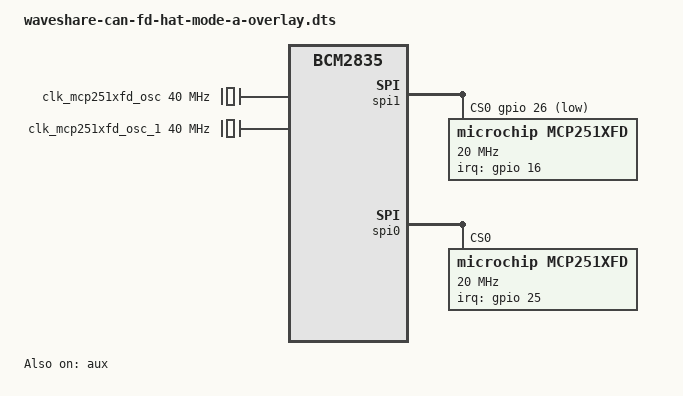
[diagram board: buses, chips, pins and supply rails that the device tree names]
// redo: ovmerge -c spi1-1cs-overlay.dts,cs0_pin=26,cs0_spidev=false mcp251xfd-overlay.dts,spi0-0,interrupt=25 mcp251xfd-overlay.dts,spi1-0,interrupt=16

// Device tree overlay for https://www.waveshare.com/2-ch-can-fd-hat.htm
// in "Mode A" (default) configuration
// for details see https://www.waveshare.com/wiki/2-CH_CAN_FD_HAT

/dts-v1/;
/plugin/;

#include <dt-bindings/gpio/gpio.h>
#include <dt-bindings/interrupt-controller/irq.h>
#include <dt-bindings/pinctrl/bcm2835.h>

/ {
	compatible = "brcm,bcm2835";
	fragment@0 {
		target = <&gpio>;
		__overlay__ {
			spi1_pins: spi1_pins {
				brcm,pins = <19 20 21>;
				brcm,function = <3>;
			};
			spi1_cs_pins: spi1_cs_pins {
				brcm,pins = <26>;
				brcm,function = <1>;
			};
		};
	};
	fragment@1 {
		target = <&spi1>;
		__overlay__ {
			#address-cells = <1>;
			#size-cells = <0>;
			pinctrl-names = "default";
			pinctrl-0 = <&spi1_pins &spi1_cs_pins>;
			cs-gpios = <&gpio 26 1>;
			status = "okay";
			spidev@0 {
				compatible = "spidev";
				reg = <0>;
				#address-cells = <1>;
				#size-cells = <0>;
				spi-max-frequency = <125000000>;
				status = "disabled";
			};
		};
	};
	fragment@2 {
		target = <&aux>;
		__overlay__ {
			status = "okay";
		};
	};
	fragment@3 {
		target = <&spidev0>;
		__overlay__ {
			status = "disabled";
		};
	};
	fragment@4 {
		target = <&gpio>;
		__overlay__ {
			mcp251xfd_pins: mcp251xfd_spi0_0_pins {
				brcm,pins = <25>;
				brcm,function = <BCM2835_FSEL_GPIO_IN>;
			};
		};
	};
	fragment@5 {
		target-path = "/clocks";
		__overlay__ {
			clk_mcp251xfd_osc: mcp251xfd-spi0-0-osc {
				#clock-cells = <0>;
				compatible = "fixed-clock";
				clock-frequency = <40000000>;
			};
		};
	};
	fragment@6 {
		target = <&spi0>;
		__overlay__ {
			status = "okay";
			#address-cells = <1>;
			#size-cells = <0>;
			mcp251xfd@0 {
				compatible = "microchip,mcp251xfd";
				reg = <0>;
				pinctrl-names = "default";
				pinctrl-0 = <&mcp251xfd_pins>;
				spi-max-frequency = <20000000>;
				interrupt-parent = <&gpio>;
				interrupts = <25 IRQ_TYPE_LEVEL_LOW>;
				clocks = <&clk_mcp251xfd_osc>;
			};
		};
	};
	fragment@7 {
		target-path = "spi1/spidev@0";
		__overlay__ {
			status = "disabled";
		};
	};
	fragment@8 {
		target = <&gpio>;
		__overlay__ {
			mcp251xfd_pins_1: mcp251xfd_spi1_0_pins {
				brcm,pins = <16>;
				brcm,function = <BCM2835_FSEL_GPIO_IN>;
			};
		};
	};
	fragment@9 {
		target-path = "/clocks";
		__overlay__ {
			clk_mcp251xfd_osc_1: mcp251xfd-spi1-0-osc {
				#clock-cells = <0>;
				compatible = "fixed-clock";
				clock-frequency = <40000000>;
			};
		};
	};
	fragment@10 {
		target = <&spi1>;
		__overlay__ {
			status = "okay";
			#address-cells = <1>;
			#size-cells = <0>;
			mcp251xfd@0 {
				compatible = "microchip,mcp251xfd";
				reg = <0>;
				pinctrl-names = "default";
				pinctrl-0 = <&mcp251xfd_pins_1>;
				spi-max-frequency = <20000000>;
				interrupt-parent = <&gpio>;
				interrupts = <16 IRQ_TYPE_LEVEL_LOW>;
				clocks = <&clk_mcp251xfd_osc_1>;
			};
		};
	};
};
